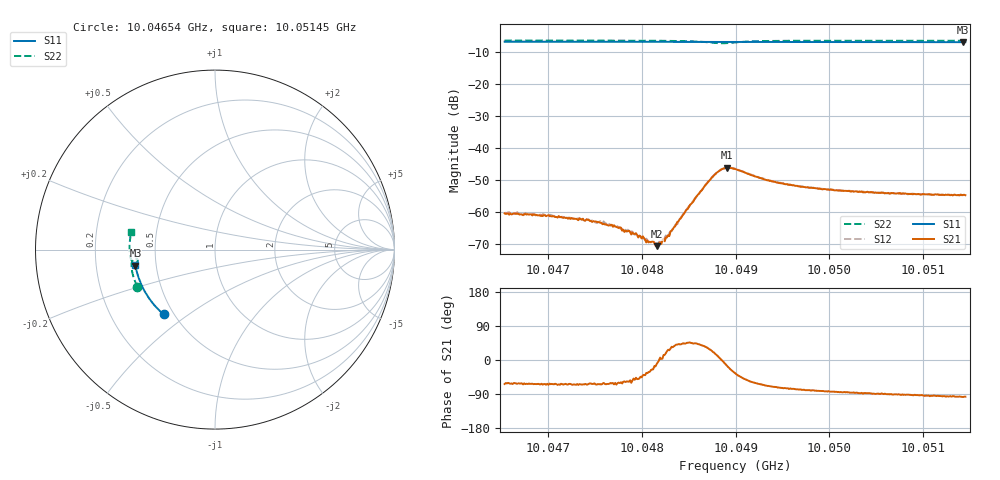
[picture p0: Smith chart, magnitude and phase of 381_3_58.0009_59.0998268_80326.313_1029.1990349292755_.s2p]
#  HZ  S  RI  R  50.00
! Rohde & Schwarz Vector Network Analyzer
! Rohde-Schwarz,ZNB20-2Port,1311601062101988,3.16
! Created: UTC 3/21/2024, 1:07:20 AM
! freq[Hz]  re:S11  im:S11  re:S21  im:S21  re:S12  im:S12  re:S22  im:S22
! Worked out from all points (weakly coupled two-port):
!   401 points, 10.04654 GHz to 10.05145 GHz, reference 50 ohm
!   highest |S21| = -46.24 dB at 10.04891 GHz (marker M1); lowest = -70.8 dB at 10.04816 GHz (marker M2)
!   lowest |S11| = -6.9 dB at 10.05142 GHz (marker M3), VSWR 2.65, Z = 19 - j4.27 ohm
!   |S11| at or under -10 dB: nowhere
!   |S22| runs from -7.2 to -6.4 dB; largest |S21 - S12| = 0.00034
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1.0046538e10  -0.2853 -0.3616  0.000421 -0.00084  0.000537 -0.00081  -0.4339 -0.207
1.0047041e10  -0.31 -0.3392  0.000381 -0.00075  0.00043 -0.000758  -0.4465 -0.1753
1.0047361e10  -0.3248 -0.3243  0.000317 -0.000676  0.000376 -0.000661  -0.4535 -0.1546
1.0047582e10  -0.3345 -0.3135  0.000291 -0.000565  0.000332 -0.000556  -0.4576 -0.14
1.0047753e10  -0.3419 -0.3046  0.00028 -0.000481  0.000266 -0.000485  -0.4606 -0.1279
1.0047815e10  -0.3444 -0.3015  0.000264 -0.000401  0.000316 -0.000395  -0.4613 -0.1237
1.0047876e10  -0.3471 -0.2985  0.000282 -0.000386  0.000302 -0.000386  -0.4623 -0.1194
1.0048085e10  -0.3556 -0.2878  0.000288 -0.000176  0.000304 -0.00012  -0.4647 -0.1038
1.0048159e10  -0.3585 -0.2838  0.000283 -5.28e-05  0.000318 -4.35e-05  -0.4651 -0.0979
1.0048183e10  -0.3595 -0.2826  0.000319 -6.57e-06  0.000339 2.08e-05  -0.4653 -0.096
1.0048269e10  -0.3627 -0.278  0.000365 0.000156  0.000359 0.00016  -0.4654 -0.089
1.0048294e10  -0.3637 -0.2766  0.000373 0.00018  0.000397 0.000241  -0.4655 -0.0869
1.0048588e10  -0.3745 -0.2605  0.00129 0.00121  0.00121 0.00126  -0.4584 -0.0596
1.0048736e10  -0.3796 -0.2523  0.00292 0.00144  0.00285 0.00165  -0.4434 -0.0502
1.0048822e10  -0.3824 -0.2475  0.00427 0.000522  0.00426 0.000816  -0.4322 -0.055
1.0048908e10  -0.3853 -0.243  0.0047 -0.00128  0.0048 -0.000981  -0.4315 -0.0675
1.0048994e10  -0.3881 -0.2381  0.00384 -0.00264  0.00405 -0.00242  -0.442 -0.0741
1.0049374e10  -0.4004 -0.2164  0.00107 -0.00284  0.00124 -0.00279  -0.4704 -0.0472
1.0049816e10  -0.4128 -0.19  0.000416 -0.00233  0.000534 -0.00228  -0.476 -0.0123
1.0050639e10  -0.4313 -0.1394  -1.66e-05 -0.00191  0.00011 -0.00194  -0.4745 0.0453
1.0051425e10  -0.4431 -0.0893  -0.000245 -0.00181  -0.000125 -0.00181  -0.4662 0.0973
1.0051449e10  -0.4434 -0.0878  -0.000213 -0.00179  -0.000131 -0.00182  -0.4659 0.0989
